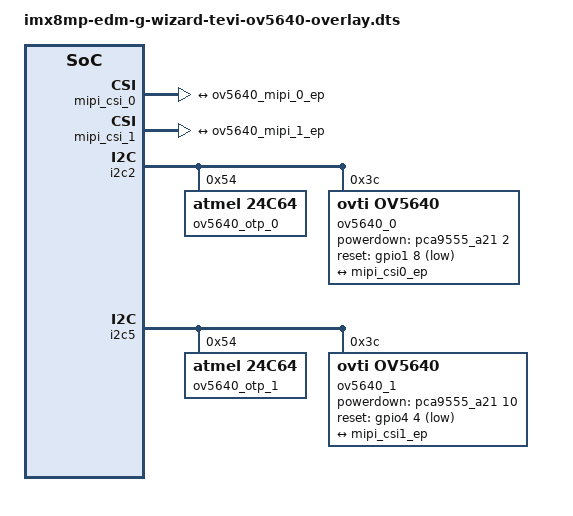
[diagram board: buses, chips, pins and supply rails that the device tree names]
// SPDX-License-Identifier: (GPL-2.0+ OR MIT)
/*
 * Copyright 2020 TechNexion Ltd.
 *
 * Author: Richard Hu <richard.hu@technexion.com>
 *         Ray Chang <ray.chang@technexion.com>
 *
 */

/dts-v1/;
/plugin/;

#include <dt-bindings/interrupt-controller/irq.h>
#include <dt-bindings/clock/imx8mp-clock.h>
#include <dt-bindings/gpio/gpio.h>

/ {
	fragment@0 {
		target = <&mipi_csi_0>;
		__overlay__ {
			#address-cells = <1>;
			#size-cells = <0>;
			status = "okay";

			port@0 {
				reg = <0>;
				mipi_csi0_ep: endpoint {
					remote-endpoint = <&ov5640_mipi_0_ep>;
					data-lanes = <2>;
					csis-hs-settle = <13>;
					csis-clk-settle = <2>;
					csis-wclk;
				};
			};
		};
	};

	fragment@1 {
		target = <&mipi_csi_1>;
		__overlay__ {
			#address-cells = <1>;
			#size-cells = <0>;
			status = "okay";

			port@1 {
				reg = <1>;
				mipi_csi1_ep: endpoint {
					remote-endpoint = <&ov5640_mipi_1_ep>;
					data-lanes = <2>;
					csis-hs-settle = <13>;
					csis-clk-settle = <2>;
					csis-wclk;
				};
			};
		};
	};

	fragment@2 {
		target = <&i2c2>;
		__overlay__ {
			#address-cells = <1>;
			#size-cells = <0>;

			ov5640_otp_0: eeprom@54 {
				compatible = "atmel,24c64";
				reg = <0x54>;
				//read-only;
			};

			ov5640_0: ov5640_mipi@3c {
				compatible = "ovti,ov5640";
				reg = <0x3c>;
				pinctrl-names = "default";
				pinctrl-0 = <&pinctrl_csi0_pwn>, <&pinctrl_csi0_rst>;
				clocks = <&clk IMX8MP_CLK_IPP_DO_CLKO1>;
				clock-names = "xclk";
				assigned-clocks = <&clk IMX8MP_CLK_IPP_DO_CLKO1>;
				assigned-clock-parents = <&clk IMX8MP_CLK_24M>;
				assigned-clock-rates = <24000000>;
				csi_id = <0>;
				powerdown-gpios = <&pca9555_a21 2 GPIO_ACTIVE_HIGH>;
				reset-gpios = <&gpio1 8 GPIO_ACTIVE_LOW>;
				mclk = <24000000>;
				mclk_source = <0>;
				mipi_csi;
				nvmem = <&ov5640_otp_0>;
				nvmem-names = "calib-data";
				status = "okay";

				port {
					ov5640_mipi_0_ep: endpoint {
						remote-endpoint = <&mipi_csi0_ep>;
						data-lanes = <1 2>;
						clock-lanes = <0>;
					};
				};
			};
		};
	};

	fragment@3 {
		target = <&i2c5>;
		__overlay__ {
			#address-cells = <1>;
			#size-cells = <0>;

			ov5640_otp_1: eeprom@54 {
				compatible = "atmel,24c64";
				reg = <0x54>;
				//read-only;
			};

			ov5640_1: ov5640_mipi@3c {
				compatible = "ovti,ov5640";
				reg = <0x3c>;
				pinctrl-names = "default";
				pinctrl-0 = <&pinctrl_csi1_pwn>, <&pinctrl_csi1_rst>;
				clocks = <&clk IMX8MP_CLK_IPP_DO_CLKO2>;
				clock-names = "xclk";
				assigned-clocks = <&clk IMX8MP_CLK_IPP_DO_CLKO2>;
				assigned-clock-parents = <&clk IMX8MP_CLK_24M>;
				assigned-clock-rates = <24000000>;
				csi_id = <0>;
				powerdown-gpios = <&pca9555_a21 10 GPIO_ACTIVE_HIGH>;
				reset-gpios = <&gpio4 4 GPIO_ACTIVE_LOW>;
				mclk = <24000000>;
				mclk_source = <0>;
				mipi_csi;
				nvmem = <&ov5640_otp_1>;
				nvmem-names = "calib-data";
				status = "okay";

				port {
					ov5640_mipi_1_ep: endpoint {
						remote-endpoint = <&mipi_csi1_ep>;
						data-lanes = <1 2>;
						clock-lanes = <0>;
					};
				};
			};
		};
	};
};
